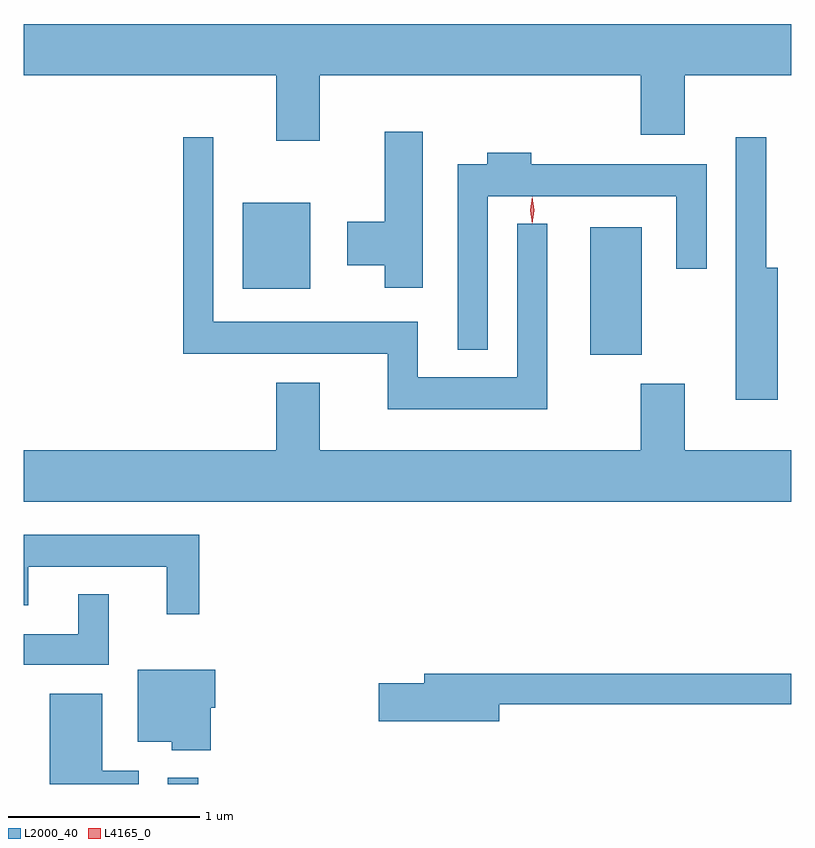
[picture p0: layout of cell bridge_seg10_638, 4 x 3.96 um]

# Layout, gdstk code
import gdstk
lib = gdstk.Library(unit=1e-6, precision=1e-09)
def R(c, l, rs):  # rectangles x0, y0, x1, y1
    for r in rs: c.add(gdstk.rectangle(r[:2], r[2:], *l))
def P(c, l, *ps):  # polygons
    for p in ps: c.add(gdstk.Polygon(p, *l))
L2000_40 = (2000, 40)
L4165_0 = (4165, 0)

bridge_seg10_638 = lib.new_cell('bridge_seg10_638')
R(bridge_seg10_638, L2000_40, [(1050.366,2112.445,1050.524,2112.478), (1052.566,2114.681,1052.834,2115.344), (1050.756,2115.026,1051.109,2115.474)])
P(bridge_seg10_638, L2000_40, [(1051.159,2116.136),(1052.831,2116.136),(1052.831,2115.826),(1053.059,2115.826),(1053.059,2116.136),(1053.615,2116.136),(1053.615,2116.404),(1049.615,2116.404),(1049.615,2116.136),(1050.931,2116.136),(1050.931,2115.796),(1051.159,2115.796)],
  [(1051.694,2115.844),(1051.496,2115.844),(1051.496,2115.374),(1051.301,2115.374),(1051.301,2115.146),(1051.496,2115.146),(1051.496,2115.031),(1051.694,2115.031)],
  [(1052.344,2115.363),(1052.186,2115.363),(1052.186,2114.564),(1051.669,2114.564),(1051.669,2114.854),(1050.604,2114.854),(1050.604,2115.813),(1050.446,2115.813),(1050.446,2114.686),(1051.511,2114.686),(1051.511,2114.396),(1052.344,2114.396)],
  [(1053.544,2115.134),(1053.484,2115.134),(1053.484,2115.813),(1053.326,2115.813),(1053.326,2114.446),(1053.544,2114.446)],
  [(1052.034,2115.506),(1053.016,2115.506),(1053.016,2115.128),(1053.174,2115.128),(1053.174,2115.674),(1052.259,2115.674),(1052.259,2115.734),(1052.031,2115.734),(1052.031,2115.674),(1051.876,2115.674),(1051.876,2114.708),(1052.034,2114.708)],
  [(1053.615,2114.184),(1053.059,2114.184),(1053.059,2114.529),(1052.831,2114.529),(1052.831,2114.184),(1051.159,2114.184),(1051.159,2114.534),(1050.931,2114.534),(1050.931,2114.184),(1049.615,2114.184),(1049.615,2113.916),(1053.615,2113.916)],
  [(1050.529,2113.744),(1049.615,2113.744),(1049.615,2113.376),(1049.639,2113.376),(1049.639,2113.576),(1050.361,2113.576),(1050.361,2113.328),(1050.529,2113.328)],
  [(1050.059,2113.433),(1049.901,2113.433),(1049.901,2113.224),(1049.615,2113.224),(1049.615,2113.066),(1050.059,2113.066)],
  [(1050.589,2112.841),(1050.614,2112.841),(1050.614,2113.039),(1050.211,2113.039),(1050.211,2112.666),(1050.386,2112.666),(1050.386,2112.621),(1050.589,2112.621)],
  [(1052.094,2112.861),(1053.615,2112.861),(1053.615,2113.019),(1051.701,2113.019),(1051.701,2112.969),(1051.466,2112.969),(1051.466,2112.771),(1052.094,2112.771)],
  [(1050.214,2112.514),(1050.024,2112.514),(1050.024,2112.914),(1049.751,2112.914),(1049.751,2112.445),(1050.214,2112.445)])
P(bridge_seg10_638, L4165_0, [(1052.264,2115.367),(1052.254,2115.434),(1052.264,2115.5),(1052.264,2115.5),(1052.265,2115.5),(1052.274,2115.434),(1052.265,2115.367),(1052.265,2115.367)],
  [(1052.264,2115.364),(1052.255,2115.434),(1052.264,2115.503),(1052.265,2115.503),(1052.265,2115.503),(1052.275,2115.434),(1052.265,2115.364),(1052.265,2115.364)])

lib.write_gds('bridge_seg10_638.gds')
